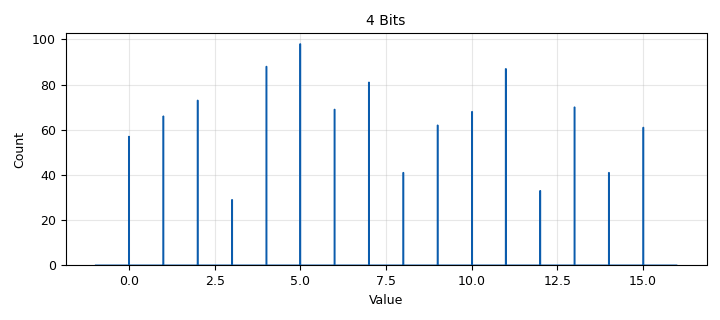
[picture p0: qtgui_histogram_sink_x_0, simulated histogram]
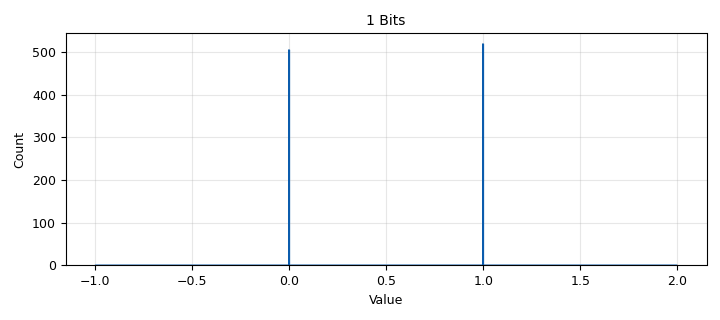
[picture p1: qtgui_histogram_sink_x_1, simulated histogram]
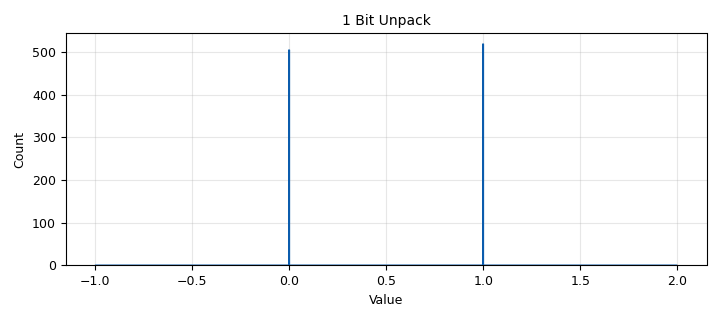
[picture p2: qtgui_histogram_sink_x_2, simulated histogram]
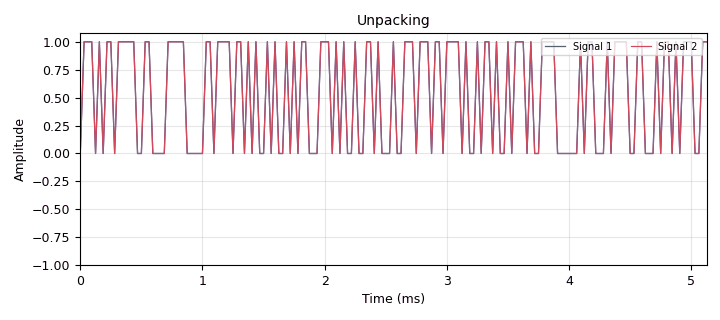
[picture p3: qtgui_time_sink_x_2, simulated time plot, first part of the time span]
options:
  parameters:
    generate_options: qt_gui
    id: sineWaveFlowGraph
    output_language: python
    title: FirstFlowGraph
  states: {}

blocks:
- name: frequency
  id: variable_qtgui_chooser
  parameters:
    label1: 'Frequency: 1000'
    label2: 'Frequency: -2000'
    num_opts: '3'
    option0: '0'
    option1: '1000'
    option2: '-2000'
    type: int
    value: '0'
  states: {state: disabled}
- name: frequency
  id: variable
  parameters:
    value: samp_rate/3
  states: {state: disabled}
- name: frequency
  id: variable_qtgui_range
  parameters:
    start: '-samp_rate/2'
    step: '100'
    stop: samp_rate/2
    value: '0'
  states: {state: disabled}
- name: frequency_range
  id: variable_qtgui_range
  parameters:
    start: '-samp_rate/2'
    step: '100'
    stop: samp_rate/2
    value: '0'
  states: {state: disabled}
- name: samp_rate
  id: variable
  parameters:
    value: '32000'
  states: {}
- name: analog_random_source_x_0
  id: analog_random_source_x
  parameters:
    max: '2'
    min: '0'
    num_samps: '1000'
    repeat: 'True'
    type: byte
  states: {}
- name: analog_sig_source_x_0
  id: analog_sig_source_x
  parameters:
    amp: '1'
    freq: frequency
    offset: '0'
    phase: '0'
    samp_rate: samp_rate
    type: float
    waveform: analog.GR_COS_WAVE
  states: {state: disabled}
- name: blocks_char_to_float_0
  id: blocks_char_to_float
  parameters:
    scale: '1'
  states: {state: disabled}
- name: blocks_char_to_float_1
  id: blocks_char_to_float
  parameters:
    scale: '1'
  states: {}
- name: blocks_char_to_float_2
  id: blocks_char_to_float
  parameters:
    scale: '1'
  states: {}
- name: blocks_char_to_float_3
  id: blocks_char_to_float
  parameters:
    scale: '1'
  states: {}
- name: blocks_char_to_float_4
  id: blocks_char_to_float
  parameters:
    scale: '1'
  states: {}
- name: blocks_pack_k_bits_bb_0
  id: blocks_pack_k_bits_bb
  parameters:
    k: '4'
  states: {}
- name: blocks_throttle_0
  id: blocks_throttle
  parameters:
    samples_per_second: samp_rate
    type: float
  states: {state: disabled}
- name: blocks_throttle_1
  id: blocks_throttle
  parameters:
    samples_per_second: samp_rate
    type: byte
  states: {state: disabled}
- name: blocks_throttle_2
  id: blocks_throttle
  parameters:
    samples_per_second: samp_rate
    type: byte
  states: {}
- name: blocks_unpack_k_bits_bb_0
  id: blocks_unpack_k_bits_bb
  parameters:
    k: '4'
  states: {}
- name: qtgui_freq_sink_x_0
  id: qtgui_freq_sink_x
  parameters:
    bw: samp_rate
    fc: '0'
    fftsize: '1024'
    type: float
  states: {state: disabled}
- name: qtgui_histogram_sink_x_0
  id: qtgui_histogram_sink_x
  parameters:
    bins: '1024'
    name: '"4 Bits"'
    size: '1024'
    type: float
    xmax: '16'
    xmin: '-1'
  states: {}
- name: qtgui_histogram_sink_x_1
  id: qtgui_histogram_sink_x
  parameters:
    bins: '1024'
    name: '"1 Bits"'
    size: '1024'
    type: float
    xmax: '2'
    xmin: '-1'
  states: {}
- name: qtgui_histogram_sink_x_2
  id: qtgui_histogram_sink_x
  parameters:
    bins: '1024'
    name: '"1 Bit Unpack"'
    size: '1024'
    type: float
    xmax: '2'
    xmin: '-1'
  states: {}
- name: qtgui_time_sink_x_0
  id: qtgui_time_sink_x
  parameters:
    size: '1024'
    srate: samp_rate
    type: float
  states: {state: disabled}
- name: qtgui_time_sink_x_1
  id: qtgui_time_sink_x
  parameters:
    size: '1024'
    srate: samp_rate
    type: float
  states: {state: disabled}
- name: qtgui_time_sink_x_2
  id: qtgui_time_sink_x
  parameters:
    name: '"Unpacking"'
    nconnections: '2'
    size: '1024'
    srate: samp_rate
    type: float
  states: {}

connections:
- [analog_random_source_x_0, '0', blocks_char_to_float_4, '0']
- [analog_random_source_x_0, '0', blocks_throttle_1, '0']
- [analog_random_source_x_0, '0', blocks_throttle_2, '0']
- [analog_sig_source_x_0, '0', blocks_throttle_0, '0']
- [blocks_char_to_float_0, '0', qtgui_time_sink_x_1, '0']
- [blocks_char_to_float_1, '0', qtgui_histogram_sink_x_1, '0']
- [blocks_char_to_float_2, '0', qtgui_histogram_sink_x_0, '0']
- [blocks_char_to_float_3, '0', qtgui_histogram_sink_x_2, '0']
- [blocks_char_to_float_3, '0', qtgui_time_sink_x_2, '0']
- [blocks_char_to_float_4, '0', qtgui_time_sink_x_2, '1']
- [blocks_pack_k_bits_bb_0, '0', blocks_char_to_float_2, '0']
- [blocks_pack_k_bits_bb_0, '0', blocks_unpack_k_bits_bb_0, '0']
- [blocks_throttle_0, '0', qtgui_freq_sink_x_0, '0']
- [blocks_throttle_0, '0', qtgui_time_sink_x_0, '0']
- [blocks_throttle_1, '0', blocks_char_to_float_0, '0']
- [blocks_throttle_2, '0', blocks_char_to_float_1, '0']
- [blocks_throttle_2, '0', blocks_pack_k_bits_bb_0, '0']
- [blocks_unpack_k_bits_bb_0, '0', blocks_char_to_float_3, '0']

metadata:
  file_format: 1
